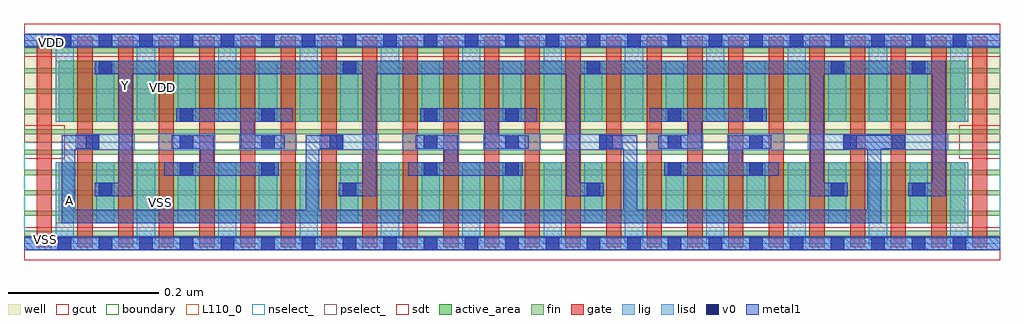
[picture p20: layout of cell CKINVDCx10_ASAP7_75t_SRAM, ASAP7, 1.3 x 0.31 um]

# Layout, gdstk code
import gdstk
lib = gdstk.Library(unit=1e-6, precision=2.5e-10)
def R(c, l, rs):  # rectangles x0, y0, x1, y1
    for r in rs: c.add(gdstk.rectangle(r[:2], r[2:], *l))
def A(c, l, x, y, w, h, nx, ny, dx, dy):  # array of equal rectangles
    R(c, l, [(x+i*dx, y+j*dy, x+i*dx+w, y+j*dy+h) for i in range(nx) for j in range(ny)])
def P(c, l, *ps):  # polygons
    for p in ps: c.add(gdstk.Polygon(p, *l))
well = (1, 0)
fin = (2, 0)
gate = (7, 0)
gcut = (10, 0)
active_area = (11, 0)
nselect_ = (12, 0)
pselect_ = (13, 0)
lig = (16, 0)
lisd = (17, 0)
v0 = (18, 0)
metal1 = (19, 0)
sdt = (88, 0)
boundary = (100, 0)
L110_0 = (110, 0)

ckinvdcx10_asap7_75t_sra = lib.new_cell('CKINVDCx10_ASAP7_75t_SRAM')
R(ckinvdcx10_asap7_75t_sra, well, [(0,0.135,1.296,0.27)])
A(ckinvdcx10_asap7_75t_sra, fin, 0, 0.01, 1.296, 0.007, 1, 10, 0, 0.027)
A(ckinvdcx10_asap7_75t_sra, gate, 0.017, -0.005, 0.02, 0.28, 24, 1, 0.054, 0)
R(ckinvdcx10_asap7_75t_sra, gcut, [(0,-0.022,1.296,0.022), (0,0.113,0.054,0.157), (1.242,0.113,1.296,0.157), (0,0.248,1.296,0.292)])
R(ckinvdcx10_asap7_75t_sra, active_area, [(0.046,0.027,1.25,0.108), (0.046,0.162,1.25,0.243)])
R(ckinvdcx10_asap7_75t_sra, nselect_, [(0,0,1.296,0.135)])
R(ckinvdcx10_asap7_75t_sra, pselect_, [(0,0.135,1.296,0.27)])
A(ckinvdcx10_asap7_75t_sra, lig, 0.069, 0.125, 0.078, 0.02, 3, 1, 0.324, 0)
R(ckinvdcx10_asap7_75t_sra, lig, [(0,-0.008,1.296,0.008), (0.178,0.124,0.254,0.146), (0.286,0.124,0.362,0.146), (0.502,0.124,0.578,0.146), (0.61,0.124,0.686,0.146), (0.826,0.124,0.902,0.146), (0.934,0.124,1.01,0.146), (1.041,0.125,1.227,0.145), (0,0.262,1.296,0.278)])
A(ckinvdcx10_asap7_75t_sra, lisd, 0.042, 0, 0.024, 0.108, 12, 2, 0.108, 0.162)
A(ckinvdcx10_asap7_75t_sra, lisd, 0.096, 0.027, 0.024, 0.081, 11, 2, 0.108, 0.135)
A(ckinvdcx10_asap7_75t_sra, v0, 0.045, -0.009, 0.018, 0.018, 23, 2, 0.054, 0.27)
A(ckinvdcx10_asap7_75t_sra, v0, 0.099, 0.063, 0.018, 0.018, 4, 2, 0.324, 0.162)
A(ckinvdcx10_asap7_75t_sra, v0, 0.207, 0.09, 0.018, 0.018, 1, 3, 0, 0.036)
A(ckinvdcx10_asap7_75t_sra, v0, 0.315, 0.09, 0.018, 0.018, 1, 3, 0, 0.036)
A(ckinvdcx10_asap7_75t_sra, v0, 0.531, 0.09, 0.018, 0.018, 1, 3, 0, 0.036)
A(ckinvdcx10_asap7_75t_sra, v0, 0.639, 0.09, 0.018, 0.018, 1, 3, 0, 0.036)
A(ckinvdcx10_asap7_75t_sra, v0, 0.855, 0.09, 0.018, 0.018, 1, 3, 0, 0.036)
A(ckinvdcx10_asap7_75t_sra, v0, 0.963, 0.09, 0.018, 0.018, 1, 3, 0, 0.036)
R(ckinvdcx10_asap7_75t_sra, v0, [(1.179,0.063,1.197,0.081), (0.082,0.126,0.1,0.144), (0.406,0.126,0.424,0.144), (0.764,0.126,0.782,0.144), (1.088,0.126,1.106,0.144), (1.152,0.126,1.17,0.144), (1.179,0.225,1.197,0.243)])
R(ckinvdcx10_asap7_75t_sra, metal1, [(0,-0.009,1.296,0.009), (0,0.261,1.296,0.279)])
P(ckinvdcx10_asap7_75t_sra, metal1, [(1.224,0.243),(0.094,0.243),(0.094,0.225),(0.126,0.225),(0.126,0.081),(0.094,0.081),(0.094,0.063),(0.144,0.063),(0.144,0.225),(0.45,0.225),(0.45,0.081),(0.418,0.081),(0.418,0.063),(0.468,0.063),(0.468,0.225),(0.72,0.225),(0.72,0.063),(0.77,0.063),(0.77,0.081),(0.738,0.081),(0.738,0.225),(1.044,0.225),(1.044,0.063),(1.094,0.063),(1.094,0.081),(1.062,0.081),(1.062,0.225),(1.206,0.225),(1.206,0.081),(1.174,0.081),(1.174,0.063),(1.224,0.063)],
  [(1.002,0.108),(0.954,0.108),(0.954,0.126),(0.992,0.126),(0.992,0.144),(0.936,0.144),(0.936,0.108),(0.85,0.108),(0.85,0.09),(1.002,0.09)],
  [(1.17,0.144),(1.088,0.144),(1.088,0.126),(1.12,0.126),(1.12,0.045),(0.814,0.045),(0.814,0.144),(0.764,0.144),(0.764,0.126),(0.796,0.126),(0.796,0.045),(0.392,0.045),(0.392,0.126),(0.424,0.126),(0.424,0.144),(0.374,0.144),(0.374,0.045),(0.068,0.045),(0.068,0.126),(0.1,0.126),(0.1,0.144),(0.05,0.144),(0.05,0.027),(1.138,0.027),(1.138,0.126),(1.17,0.126)],
  [(0.986,0.18),(0.831,0.18),(0.831,0.162),(0.882,0.162),(0.882,0.144),(0.842,0.144),(0.842,0.126),(0.9,0.126),(0.9,0.162),(0.986,0.162)],
  [(0.681,0.18),(0.526,0.18),(0.526,0.162),(0.612,0.162),(0.612,0.126),(0.67,0.126),(0.67,0.144),(0.63,0.144),(0.63,0.162),(0.681,0.162)],
  [(0.662,0.108),(0.576,0.108),(0.576,0.144),(0.52,0.144),(0.52,0.126),(0.558,0.126),(0.558,0.108),(0.51,0.108),(0.51,0.09),(0.662,0.09)],
  [(0.357,0.18),(0.202,0.18),(0.202,0.162),(0.288,0.162),(0.288,0.126),(0.346,0.126),(0.346,0.144),(0.306,0.144),(0.306,0.162),(0.357,0.162)],
  [(0.338,0.108),(0.252,0.108),(0.252,0.144),(0.196,0.144),(0.196,0.126),(0.234,0.126),(0.234,0.108),(0.186,0.108),(0.186,0.09),(0.338,0.09)])
A(ckinvdcx10_asap7_75t_sra, sdt, 0.042, 0.027, 0.024, 0.081, 23, 2, 0.054, 0.135)
R(ckinvdcx10_asap7_75t_sra, boundary, [(0,0,1.296,0.27)])
R(ckinvdcx10_asap7_75t_sra, L110_0, [(0,0,1.296,0.27)])
ckinvdcx10_asap7_75t_sra.add(gdstk.Label('VDD', (0.184,0.207), layer=1, texttype=251))
ckinvdcx10_asap7_75t_sra.add(gdstk.Label('VSS', (0.181,0.055), layer=3, texttype=251))
ckinvdcx10_asap7_75t_sra.add(gdstk.Label('VSS', (0.029,0.006), layer=19, texttype=251))
ckinvdcx10_asap7_75t_sra.add(gdstk.Label('VDD', (0.036,0.2665), layer=19, texttype=251))
ckinvdcx10_asap7_75t_sra.add(gdstk.Label('Y', (0.135,0.21), layer=19, texttype=251))
ckinvdcx10_asap7_75t_sra.add(gdstk.Label('A', (0.06,0.057), layer=19, texttype=251))

lib.write_gds('CKINVDCx10_ASAP7_75t_SRAM.gds')
